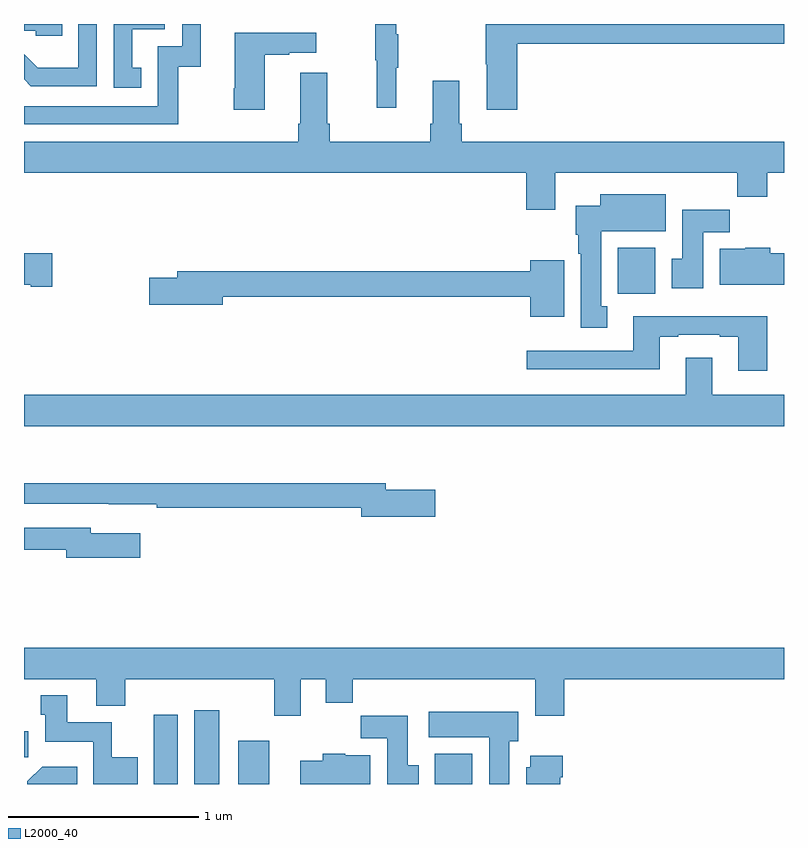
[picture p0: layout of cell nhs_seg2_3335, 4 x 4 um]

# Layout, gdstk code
import gdstk
lib = gdstk.Library(unit=1e-6, precision=1e-09)
def R(c, l, rs):  # rectangles x0, y0, x1, y1
    for r in rs: c.add(gdstk.rectangle(r[:2], r[2:], *l))
def P(c, l, *ps):  # polygons
    for p in ps: c.add(gdstk.Polygon(p, *l))
L2000_40 = (2000, 40)

nhs_seg2_3335 = lib.new_cell('nhs_seg2_3335')
R(nhs_seg2_3335, L2000_40, [(287.684,597.8,287.809,598.165), (287.897,597.8,288.028,598.189), (289.163,597.8,289.36,597.958), (287,597.94,287.023,598.078), (290.126,600.38,290.323,600.622)])
P(nhs_seg2_3335, L2000_40, [(287.201,601.8),(287,601.8),(287,601.764),(287.061,601.764),(287.061,601.737),(287.201,601.737)],
  [(287.618,601.569),(287.569,601.569),(287.569,601.773),(287.742,601.773),(287.742,601.8),(287.472,601.8),(287.472,601.464),(287.618,601.464)],
  [(288.959,601.571),(288.97,601.571),(288.97,601.745),(288.959,601.745),(288.959,601.8),(288.849,601.8),(288.849,601.608),(288.856,601.608),(288.856,601.359),(288.959,601.359)],
  [(287.812,601.575),(287.93,601.575),(287.93,601.8),(287.832,601.8),(287.832,601.683),(287.703,601.683),(287.703,601.368),(287,601.368),(287,601.272),(287.812,601.272)],
  [(287.382,601.8),(287.286,601.8),(287.286,601.57),(287.072,601.57),(287,601.642),(287,601.509),(287.036,601.473),(287.382,601.473)],
  [(289.595,601.696),(291,601.696),(291,601.8),(289.429,601.8),(289.429,601.588),(289.436,601.588),(289.436,601.35),(289.595,601.35)],
  [(288.268,601.639),(288.395,601.639),(288.395,601.649),(288.538,601.649),(288.538,601.753),(288.11,601.753),(288.11,601.462),(288.103,601.462),(288.103,601.35),(288.268,601.35)],
  [(289.795,601.016),(290.755,601.016),(290.755,600.892),(290.912,600.892),(290.912,601.016),(291,601.016),(291,601.18),(289.304,601.18),(289.304,601.276),(289.291,601.276),(289.291,601.501),(289.151,601.501),(289.151,601.276),(289.139,601.276),(289.139,601.18),(288.608,601.18),(288.608,601.276),(288.595,601.276),(288.595,601.543),(288.455,601.543),(288.455,601.276),(288.443,601.276),(288.443,601.18),(287,601.18),(287,601.016),(289.643,601.016),(289.643,600.822),(289.795,600.822)],
  [(290.071,600.314),(290.038,600.314),(290.038,600.71),(290.377,600.71),(290.377,600.904),(290.033,600.904),(290.033,600.844),(289.904,600.844),(289.904,600.69),(289.916,600.69),(289.916,600.59),(289.931,600.59),(289.931,600.201),(290.071,600.201)],
  [(290.575,600.704),(290.714,600.704),(290.714,600.822),(290.465,600.822),(290.465,600.564),(290.408,600.564),(290.408,600.408),(290.575,600.408)],
  [(291,600.594),(290.927,600.594),(290.927,600.622),(290.796,600.622),(290.796,600.616),(290.663,600.616),(290.663,600.428),(291,600.428)],
  [(287.149,600.594),(287,600.594),(287,600.428),(287.036,600.428),(287.036,600.416),(287.149,600.416)],
  [(289.843,600.556),(289.664,600.556),(289.664,600.5),(287.807,600.5),(287.807,600.464),(287.658,600.464),(287.658,600.322),(288.046,600.322),(288.046,600.364),(289.664,600.364),(289.664,600.26),(289.843,600.26)],
  [(290.912,600.262),(290.207,600.262),(290.207,600.081),(289.647,600.081),(289.647,599.984),(290.347,599.984),(290.347,600.153),(290.443,600.153),(290.443,600.165),(290.663,600.165),(290.663,600.153),(290.759,600.153),(290.759,599.976),(290.912,599.976)],
  [(291,599.848),(290.623,599.848),(290.623,600.043),(290.483,600.043),(290.483,599.848),(287,599.848),(287,599.684),(291,599.684)],
  [(289.165,599.349),(288.904,599.349),(288.904,599.383),(287,599.383),(287,599.274),(287.446,599.274),(287.446,599.273),(287.698,599.273),(287.698,599.254),(288.776,599.254),(288.776,599.207),(289.165,599.207)],
  [(287.611,599.119),(287.35,599.119),(287.35,599.148),(287,599.148),(287,599.032),(287.222,599.032),(287.222,598.99),(287.611,598.99)],
  [(288.457,598.352),(288.587,598.352),(288.587,598.228),(288.731,598.228),(288.731,598.352),(289.691,598.352),(289.691,598.158),(289.844,598.158),(289.844,598.352),(291,598.352),(291,598.516),(287,598.516),(287,598.352),(287.381,598.352),(287.381,598.211),(287.534,598.211),(287.534,598.352),(288.317,598.352),(288.317,598.158),(288.457,598.158)],
  [(287.599,597.94),(287.463,597.94),(287.463,598.126),(287.227,598.126),(287.227,598.267),(287.087,598.267),(287.087,598.164),(287.111,598.164),(287.111,598.022),(287.364,598.022),(287.364,597.8),(287.599,597.8)],
  [(289.555,598.026),(289.6,598.026),(289.6,598.18),(289.131,598.18),(289.131,598.046),(289.448,598.046),(289.448,597.8),(289.555,597.8)],
  [(289.078,597.9),(289.021,597.9),(289.021,598.159),(288.772,598.159),(288.772,598.04),(288.911,598.04),(288.911,597.8),(289.078,597.8)],
  [(288.29,597.868),(288.292,597.868),(288.292,598.027),(288.128,598.027),(288.128,597.8),(288.29,597.8)],
  [(288.823,597.952),(288.69,597.952),(288.69,597.958),(288.572,597.958),(288.572,597.922),(288.453,597.922),(288.453,597.8),(288.823,597.8)],
  [(289.822,597.836),(289.835,597.836),(289.835,597.949),(289.664,597.949),(289.664,597.888),(289.643,597.888),(289.643,597.8),(289.822,597.8)],
  [(287.279,597.892),(287.096,597.892),(287.018,597.814),(287.018,597.8),(287.279,597.8)])

lib.write_gds('nhs_seg2_3335.gds')
